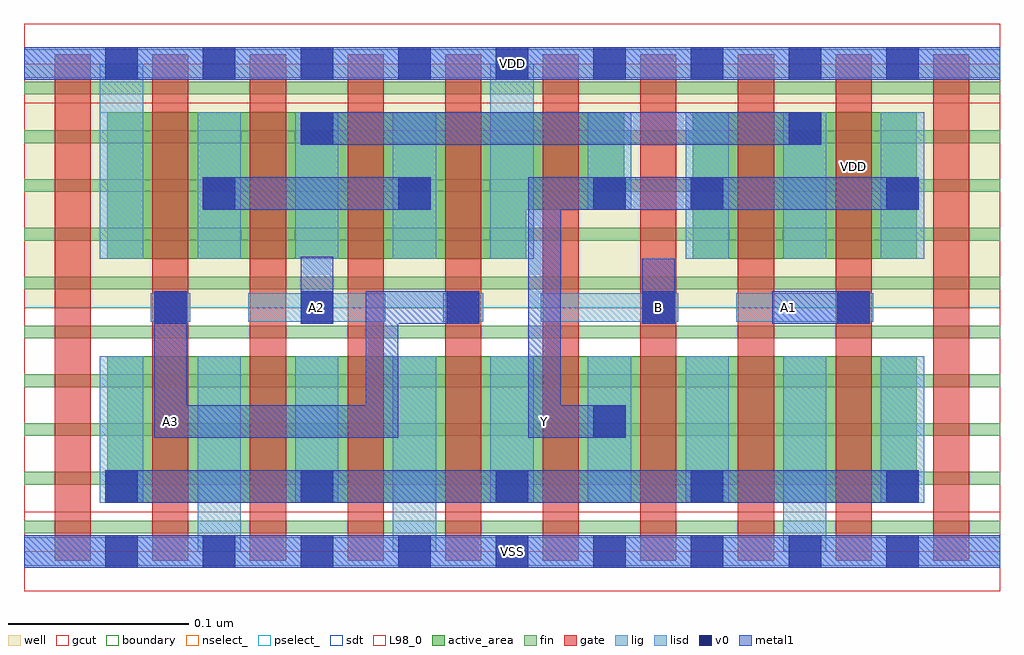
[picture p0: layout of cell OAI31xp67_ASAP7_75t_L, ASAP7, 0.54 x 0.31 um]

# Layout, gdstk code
import gdstk
lib = gdstk.Library(unit=1e-6, precision=2.5e-10)
def R(c, l, rs):  # rectangles x0, y0, x1, y1
    for r in rs: c.add(gdstk.rectangle(r[:2], r[2:], *l))
def A(c, l, x, y, w, h, nx, ny, dx, dy):  # array of equal rectangles
    R(c, l, [(x+i*dx, y+j*dy, x+i*dx+w, y+j*dy+h) for i in range(nx) for j in range(ny)])
def P(c, l, *ps):  # polygons
    for p in ps: c.add(gdstk.Polygon(p, *l))
well = (1, 0)
fin = (2, 0)
gate = (7, 0)
gcut = (10, 0)
active_area = (11, 0)
nselect_ = (12, 0)
pselect_ = (13, 0)
lig = (16, 0)
lisd = (17, 0)
v0 = (18, 0)
metal1 = (19, 0)
sdt = (88, 0)
L98_0 = (98, 0)
boundary = (100, 0)

oai31xp67_asap7_75t_l = lib.new_cell('OAI31xp67_ASAP7_75t_L')
R(oai31xp67_asap7_75t_l, well, [(0,0.135,0.54,0.27)])
A(oai31xp67_asap7_75t_l, fin, 0, 0.01, 0.54, 0.007, 1, 10, 0, 0.027)
A(oai31xp67_asap7_75t_l, gate, 0.017, -0.005, 0.02, 0.28, 10, 1, 0.054, 0)
R(oai31xp67_asap7_75t_l, gcut, [(0,-0.022,0.54,0.022), (0,0.248,0.54,0.292)])
R(oai31xp67_asap7_75t_l, active_area, [(0.046,0.027,0.494,0.108), (0.37,0.162,0.494,0.243)])
P(oai31xp67_asap7_75t_l, active_area, [(0.046,0.162),(0.046,0.243),(0.332,0.243),(0.332,0.189),(0.278,0.189),(0.278,0.162)])
R(oai31xp67_asap7_75t_l, nselect_, [(0,0,0.54,0.135)])
R(oai31xp67_asap7_75t_l, pselect_, [(0,0.135,0.54,0.27)])
R(oai31xp67_asap7_75t_l, lig, [(0,-0.008,0.54,0.008), (0.07,0.127,0.092,0.143), (0.124,0.127,0.2,0.143), (0.232,0.127,0.254,0.143), (0.286,0.127,0.362,0.143), (0.394,0.127,0.47,0.143), (0,0.262,0.54,0.278)])
A(oai31xp67_asap7_75t_l, lisd, 0.042, 0.027, 0.024, 0.081, 3, 1, 0.108, 0)
A(oai31xp67_asap7_75t_l, lisd, 0.096, 0.162, 0.024, 0.081, 3, 1, 0.054, 0)
A(oai31xp67_asap7_75t_l, lisd, 0.366, 0.162, 0.024, 0.081, 3, 1, 0.054, 0)
R(oai31xp67_asap7_75t_l, lisd, [(0.096,0,0.12,0.108), (0.204,0,0.228,0.108), (0.42,0,0.444,0.108), (0.312,0.027,0.336,0.108), (0.366,0.027,0.39,0.108), (0.474,0.027,0.498,0.108), (0.042,0.162,0.066,0.27), (0.258,0.162,0.282,0.27), (0.312,0.189,0.336,0.243)])
A(oai31xp67_asap7_75t_l, v0, 0.045, -0.009, 0.018, 0.018, 9, 2, 0.054, 0.27)
A(oai31xp67_asap7_75t_l, v0, 0.045, 0.027, 0.018, 0.018, 5, 1, 0.108, 0)
A(oai31xp67_asap7_75t_l, v0, 0.072, 0.126, 0.018, 0.018, 3, 1, 0.081, 0)
A(oai31xp67_asap7_75t_l, v0, 0.099, 0.189, 0.018, 0.018, 3, 1, 0.108, 0)
R(oai31xp67_asap7_75t_l, v0, [(0.315,0.063,0.333,0.081), (0.342,0.126,0.36,0.144), (0.45,0.126,0.468,0.144), (0.369,0.189,0.387,0.207), (0.477,0.189,0.495,0.207), (0.153,0.225,0.171,0.243), (0.423,0.225,0.441,0.243)])
R(oai31xp67_asap7_75t_l, metal1, [(0,-0.009,0.54,0.009), (0.045,0.027,0.495,0.045), (0.153,0.126,0.171,0.163), (0.342,0.126,0.36,0.162), (0.414,0.126,0.468,0.144), (0.099,0.189,0.225,0.207), (0.153,0.225,0.441,0.243), (0,0.261,0.54,0.279)])
P(oai31xp67_asap7_75t_l, metal1, [(0.072,0.063),(0.072,0.144),(0.09,0.144),(0.09,0.081),(0.189,0.081),(0.189,0.144),(0.252,0.144),(0.252,0.126),(0.207,0.126),(0.207,0.063)],
  [(0.279,0.063),(0.279,0.207),(0.495,0.207),(0.495,0.189),(0.297,0.189),(0.297,0.081),(0.333,0.081),(0.333,0.063)])
A(oai31xp67_asap7_75t_l, sdt, 0.042, 0.027, 0.024, 0.081, 9, 1, 0.054, 0)
A(oai31xp67_asap7_75t_l, sdt, 0.042, 0.162, 0.024, 0.081, 5, 1, 0.054, 0)
A(oai31xp67_asap7_75t_l, sdt, 0.366, 0.162, 0.024, 0.081, 3, 1, 0.054, 0)
R(oai31xp67_asap7_75t_l, sdt, [(0.312,0.189,0.336,0.243)])
R(oai31xp67_asap7_75t_l, L98_0, [(0,0,0.54,0.27)])
R(oai31xp67_asap7_75t_l, boundary, [(0,0,0.54,0.27)])
oai31xp67_asap7_75t_l.add(gdstk.Label('A3', (0.081,0.072), layer=19, texttype=251))
oai31xp67_asap7_75t_l.add(gdstk.Label('Y', (0.288,0.072), layer=19, texttype=251))
oai31xp67_asap7_75t_l.add(gdstk.Label('A2', (0.162,0.135), layer=19, texttype=251))
oai31xp67_asap7_75t_l.add(gdstk.Label('B', (0.351,0.135), layer=19, texttype=251))
oai31xp67_asap7_75t_l.add(gdstk.Label('A1', (0.423,0.135), layer=19, texttype=251))
oai31xp67_asap7_75t_l.add(gdstk.Label('VSS', (0.27,0), layer=19, texttype=251))
oai31xp67_asap7_75t_l.add(gdstk.Label('VDD', (0.27,0.27), layer=19, texttype=251))
oai31xp67_asap7_75t_l.add(gdstk.Label('VDD', (0.459,0.213), layer=1, texttype=251))
oai31xp67_asap7_75t_l.add(gdstk.Label('VSS', (0.621,0.213), layer=3, texttype=251))

lib.write_gds('OAI31xp67_ASAP7_75t_L.gds')
